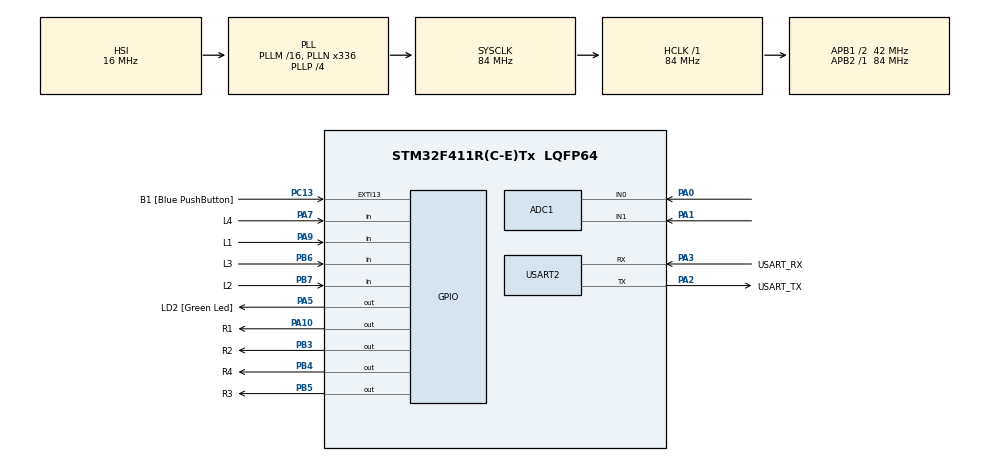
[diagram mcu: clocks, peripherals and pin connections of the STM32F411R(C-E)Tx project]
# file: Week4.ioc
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ADC1.Channel-0\#ChannelRegularConversion=ADC_CHANNEL_0
ADC1.NbrOfConversionFlag=1
ADC1.Rank-0\#ChannelRegularConversion=1
ADC1.SamplingTime-0\#ChannelRegularConversion=ADC_SAMPLETIME_3CYCLES
ADC1.master=1
Mcu.Family=STM32F4
Mcu.Name=STM32F411R(C-E)Tx
Mcu.Package=LQFP64
NVIC.PriorityGroup=NVIC_PRIORITYGROUP_0
PA0-WKUP.Signal=ADCx_IN0
PA1.Signal=ADCx_IN1
PA10.GPIO_Label=R1
PA10.GPIO_Speed=GPIO_SPEED_FREQ_LOW
PA10.PinState=GPIO_PIN_SET
PA10.Signal=GPIO_Output
PA13.GPIO_Label=TMS
PA13.Mode=Serial_Wire
PA13.Signal=SYS_JTMS-SWDIO
PA14.GPIO_Label=TCK
PA14.Mode=Serial_Wire
PA14.Signal=SYS_JTCK-SWCLK
PA2.GPIO_Label=USART_TX
PA2.Mode=Asynchronous
PA2.Signal=USART2_TX
PA3.GPIO_Label=USART_RX
PA3.Mode=Asynchronous
PA3.Signal=USART2_RX
PA5.GPIO_Label=LD2 [Green Led]
PA5.Signal=GPIO_Output
PA7.GPIO_Label=L4
PA7.GPIO_PuPd=GPIO_PULLUP
PA7.Signal=GPIO_Input
PA9.GPIO_Label=L1
PA9.GPIO_PuPd=GPIO_PULLUP
PA9.Signal=GPIO_Input
PB3.GPIO_Label=R2
PB3.GPIO_Speed=GPIO_SPEED_FREQ_LOW
PB3.PinState=GPIO_PIN_SET
PB3.Signal=GPIO_Output
PB4.GPIO_Label=R4
PB4.PinState=GPIO_PIN_SET
PB4.Signal=GPIO_Output
PB5.GPIO_Label=R3
PB5.PinState=GPIO_PIN_SET
PB5.Signal=GPIO_Output
PB6.GPIO_Label=L3
PB6.GPIO_PuPd=GPIO_PULLUP
PB6.Signal=GPIO_Input
PB7.GPIO_Label=L2
PB7.GPIO_PuPd=GPIO_PULLUP
PB7.Signal=GPIO_Input
PC13-ANTI_TAMP.GPIO_Label=B1 [Blue PushButton]
PC13-ANTI_TAMP.GPIO_ModeDefaultEXTI=GPIO_MODE_IT_FALLING
PC13-ANTI_TAMP.Signal=GPXTI13
PC14-OSC32_IN.Mode=LSE-External-Oscillator
PC14-OSC32_IN.Signal=RCC_OSC32_IN
PC15-OSC32_OUT.Mode=LSE-External-Oscillator
PC15-OSC32_OUT.Signal=RCC_OSC32_OUT
PH0\ -\ OSC_IN.Mode=HSE-External-Clock-Source
PH0\ -\ OSC_IN.Signal=RCC_OSC_IN
PH1\ -\ OSC_OUT.Mode=HSE-External-Clock-Source
PH1\ -\ OSC_OUT.Signal=RCC_OSC_OUT
ProjectManager.HeapSize=0x200
ProjectManager.StackSize=0x400
ProjectManager.TargetToolchain=STM32CubeIDE
RCC.48MHZClocksFreq_Value=84000000
RCC.AHBFreq_Value=84000000
RCC.APB1CLKDivider=RCC_HCLK_DIV2
RCC.APB1Freq_Value=42000000
RCC.APB1TimFreq_Value=84000000
RCC.APB2Freq_Value=84000000
RCC.APB2TimFreq_Value=84000000
RCC.CortexFreq_Value=84000000
RCC.FLatency-AdvancedSettings=FLASH_LATENCY_2
RCC.HCLKFreq_Value=84000000
RCC.HSE_VALUE=8000000
RCC.HSI_VALUE=16000000
RCC.PLLN=336
RCC.PLLP=RCC_PLLP_DIV4
RCC.SYSCLKFreq_VALUE=84000000
RCC.SYSCLKSource=RCC_SYSCLKSOURCE_PLLCLK
RCC.VCOOutputFreq_Value=336000000
SH.ADCx_IN0.0=ADC1_IN0,IN0
SH.ADCx_IN1.0=ADC1_IN1,IN1
USART2.VirtualMode=VM_ASYNC
board=NUCLEO-F411RE

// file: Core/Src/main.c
/* USER CODE BEGIN Header */
/**
  ******************************************************************************
  * @file           : main.c
  * @brief          : Main program body
  ******************************************************************************
  * @attention
  *
  * Copyright (c) 2023 STMicroelectronics.
  * All rights reserved.
  *
  * This software is licensed under terms that can be found in the LICENSE file
  * in the root directory of this software component.
  * If no LICENSE file comes with this software, it is provided AS-IS.
  *
  ******************************************************************************
  */
/* USER CODE END Header */
#include "main.h"

ADC_HandleTypeDef hadc1;

UART_HandleTypeDef huart2;

/* USER CODE BEGIN PV */

typedef struct
{
	ADC_ChannelConfTypeDef Config;
	uint32_t Data;
}ADCStructure;
ADCStructure ADCConvert[3]={0};
/* USER CODE END PV */

void SystemClock_Config(void);
static void MX_GPIO_Init(void);
static void MX_USART2_UART_Init(void);
static void MX_ADC1_Init(void);
/* USER CODE BEGIN PFP */
void ADC_Read();
void ADC_Config();
/* USER CODE END PFP */

int main(void)
{

  /* MCU Configuration--------------------------------------------------------*/

  /* Reset of all peripherals, Initializes the Flash interface and the Systick. */
  HAL_Init();

  /* Configure the system clock */
  SystemClock_Config();

  /* Initialize all configured peripherals */
  MX_GPIO_Init();
  MX_USART2_UART_Init();
  MX_ADC1_Init();
  /* USER CODE BEGIN 2 */
  ADC_Config();
  /* USER CODE END 2 */

  /* Infinite loop */
  while (1)
  {

  }
}

void SystemClock_Config(void)
{
  RCC_OscInitTypeDef RCC_OscInitStruct = {0};
  RCC_ClkInitTypeDef RCC_ClkInitStruct = {0};

  /** Configure the main internal regulator output voltage
  */
  __HAL_RCC_PWR_CLK_ENABLE();
  __HAL_PWR_VOLTAGESCALING_CONFIG(PWR_REGULATOR_VOLTAGE_SCALE1);

  /** Initializes the RCC Oscillators according to the specified parameters
  * in the RCC_OscInitTypeDef structure.
  */
  RCC_OscInitStruct.OscillatorType = RCC_OSCILLATORTYPE_HSI;
  RCC_OscInitStruct.HSIState = RCC_HSI_ON;
  RCC_OscInitStruct.HSICalibrationValue = RCC_HSICALIBRATION_DEFAULT;
  RCC_OscInitStruct.PLL.PLLState = RCC_PLL_ON;
  RCC_OscInitStruct.PLL.PLLSource = RCC_PLLSOURCE_HSI;
  RCC_OscInitStruct.PLL.PLLM = 16;
  RCC_OscInitStruct.PLL.PLLN = 336;
  RCC_OscInitStruct.PLL.PLLP = RCC_PLLP_DIV4;
  RCC_OscInitStruct.PLL.PLLQ = 4;
  if (HAL_RCC_OscConfig(&RCC_OscInitStruct) != HAL_OK)
  {
    Error_Handler();
  }

  /** Initializes the CPU, AHB and APB buses clocks
  */
  RCC_ClkInitStruct.ClockType = RCC_CLOCKTYPE_HCLK|RCC_CLOCKTYPE_SYSCLK
                              |RCC_CLOCKTYPE_PCLK1|RCC_CLOCKTYPE_PCLK2;
  RCC_ClkInitStruct.SYSCLKSource = RCC_SYSCLKSOURCE_PLLCLK;
  RCC_ClkInitStruct.AHBCLKDivider = RCC_SYSCLK_DIV1;
  RCC_ClkInitStruct.APB1CLKDivider = RCC_HCLK_DIV2;
  RCC_ClkInitStruct.APB2CLKDivider = RCC_HCLK_DIV1;

  if (HAL_RCC_ClockConfig(&RCC_ClkInitStruct, FLASH_LATENCY_2) != HAL_OK)
  {
    Error_Handler();
  }
}

static void MX_ADC1_Init(void)
{

  ADC_ChannelConfTypeDef sConfig = {0};

  /** Configure the global features of the ADC (Clock, Resolution, Data Alignment and number of conversion)
  */
  hadc1.Instance = ADC1;
  hadc1.Init.ClockPrescaler = ADC_CLOCK_SYNC_PCLK_DIV4;
  hadc1.Init.Resolution = ADC_RESOLUTION_12B;
  hadc1.Init.ScanConvMode = DISABLE;
  hadc1.Init.ContinuousConvMode = DISABLE;
  hadc1.Init.DiscontinuousConvMode = DISABLE;
  hadc1.Init.ExternalTrigConvEdge = ADC_EXTERNALTRIGCONVEDGE_NONE;
  hadc1.Init.ExternalTrigConv = ADC_SOFTWARE_START;
  hadc1.Init.DataAlign = ADC_DATAALIGN_RIGHT;
  hadc1.Init.NbrOfConversion = 1;
  hadc1.Init.DMAContinuousRequests = DISABLE;
  hadc1.Init.EOCSelection = ADC_EOC_SINGLE_CONV;
  if (HAL_ADC_Init(&hadc1) != HAL_OK)
  {
    Error_Handler();
  }

  /** Configure for the selected ADC regular channel its corresponding rank in the sequencer and its sample time.
  */
  sConfig.Channel = ADC_CHANNEL_0;
  sConfig.Rank = 1;
  sConfig.SamplingTime = ADC_SAMPLETIME_3CYCLES;
  if (HAL_ADC_ConfigChannel(&hadc1, &sConfig) != HAL_OK)
  {
    Error_Handler();
  }

}

static void MX_USART2_UART_Init(void)
{

  huart2.Instance = USART2;
  huart2.Init.BaudRate = 115200;
  huart2.Init.WordLength = UART_WORDLENGTH_8B;
  huart2.Init.StopBits = UART_STOPBITS_1;
  huart2.Init.Parity = UART_PARITY_NONE;
  huart2.Init.Mode = UART_MODE_TX_RX;
  huart2.Init.HwFlowCtl = UART_HWCONTROL_NONE;
  huart2.Init.OverSampling = UART_OVERSAMPLING_16;
  if (HAL_UART_Init(&huart2) != HAL_OK)
  {
    Error_Handler();
  }

}

static void MX_GPIO_Init(void)
{
  GPIO_InitTypeDef GPIO_InitStruct = {0};

  /* GPIO Ports Clock Enable */
  __HAL_RCC_GPIOC_CLK_ENABLE();
  __HAL_RCC_GPIOH_CLK_ENABLE();
  __HAL_RCC_GPIOA_CLK_ENABLE();
  __HAL_RCC_GPIOB_CLK_ENABLE();

  /*Configure GPIO pin Output Level */
  HAL_GPIO_WritePin(LD2_GPIO_Port, LD2_Pin, GPIO_PIN_RESET);

  /*Configure GPIO pin Output Level */
  HAL_GPIO_WritePin(R1_GPIO_Port, R1_Pin, GPIO_PIN_SET);

  /*Configure GPIO pin Output Level */
  HAL_GPIO_WritePin(GPIOB, R2_Pin|R4_Pin|R3_Pin, GPIO_PIN_SET);

  /*Configure GPIO pin : B1_Pin */
  GPIO_InitStruct.Pin = B1_Pin;
  GPIO_InitStruct.Mode = GPIO_MODE_IT_FALLING;
  GPIO_InitStruct.Pull = GPIO_NOPULL;
  HAL_GPIO_Init(B1_GPIO_Port, &GPIO_InitStruct);

  /*Configure GPIO pins : LD2_Pin R1_Pin */
  GPIO_InitStruct.Pin = LD2_Pin|R1_Pin;
  GPIO_InitStruct.Mode = GPIO_MODE_OUTPUT_PP;
  GPIO_InitStruct.Pull = GPIO_NOPULL;
  GPIO_InitStruct.Speed = GPIO_SPEED_FREQ_LOW;
  HAL_GPIO_Init(GPIOA, &GPIO_InitStruct);

  /*Configure GPIO pins : L4_Pin L1_Pin */
  GPIO_InitStruct.Pin = L4_Pin|L1_Pin;
  GPIO_InitStruct.Mode = GPIO_MODE_INPUT;
  GPIO_InitStruct.Pull = GPIO_PULLUP;
  HAL_GPIO_Init(GPIOA, &GPIO_InitStruct);

  /*Configure GPIO pins : R2_Pin R4_Pin R3_Pin */
  GPIO_InitStruct.Pin = R2_Pin|R4_Pin|R3_Pin;
  GPIO_InitStruct.Mode = GPIO_MODE_OUTPUT_PP;
  GPIO_InitStruct.Pull = GPIO_NOPULL;
  GPIO_InitStruct.Speed = GPIO_SPEED_FREQ_LOW;
  HAL_GPIO_Init(GPIOB, &GPIO_InitStruct);

  /*Configure GPIO pins : L3_Pin L2_Pin */
  GPIO_InitStruct.Pin = L3_Pin|L2_Pin;
  GPIO_InitStruct.Mode = GPIO_MODE_INPUT;
  GPIO_InitStruct.Pull = GPIO_PULLUP;
  HAL_GPIO_Init(GPIOB, &GPIO_InitStruct);

}

/* USER CODE BEGIN 4 */
void ADC_Config()
{
	ADCConvert[0].Config.Channel = ADC_CHANNEL_0;
	ADCConvert[0].Config.Rank = 1;
	ADCConvert[0].Config.SamplingTime = ADC_SAMPLETIME_3CYCLES;

	ADCConvert[1].Config.Channel = ADC_CHANNEL_1;
	ADCConvert[1].Config.Rank = 1;
	ADCConvert[1].Config.SamplingTime = ADC_SAMPLETIME_3CYCLES;

	ADCConvert[2].Config.Channel = ADC_CHANNEL_TEMPSENSOR;
	ADCConvert[2].Config.Rank = 1;
	ADCConvert[2].Config.SamplingTime = ADC_SAMPLETIME_3CYCLES;
}

void ADC_Read()
{

	register int i;
	for (i=0;i<3;++i)
	{
		HAL_ADC_ConfigChannel(&hadc1, &ADCConvert[i].Config);
			HAL_ADC_Start(&hadc1);
			if(HAL_ADC_PollForConversion(&hadc1, 10) == HAL_OK)
			{
			ADCConvert[i].Data = HAL_ADC_GetValue(&hadc1);
			}

	}
	HAL_ADC_Stop(&hadc1);

}
/* USER CODE END 4 */

void Error_Handler(void)
{
  __disable_irq();
  while (1)
  {
  }
}
